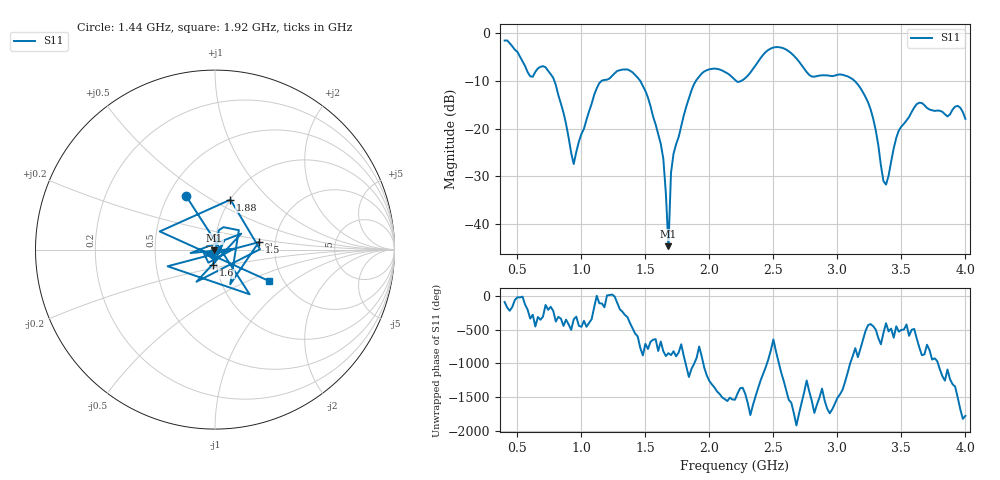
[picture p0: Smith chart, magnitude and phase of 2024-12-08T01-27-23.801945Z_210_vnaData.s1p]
!Created with skrf (http://scikit-rf.org).
# Hz S RI R 50.0
!freq ReS11 ImS11
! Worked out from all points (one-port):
!   181 points, 400 MHz to 4 GHz, reference 50 ohm
!   lowest |S11| = -44.6 dB at 1.68 GHz (marker M1), VSWR 1.01, Z = 49.6 - j0.459 ohm
!   |S11| at or under -10 dB: 788.1 MHz to 1.159 GHz (370.5 MHz wide, 38.1 % of centre); 1.459 GHz to 1.896 GHz (436.4 MHz wide, 26 % of centre); 3.133 GHz to end of sweep (the widest 3 of 4)
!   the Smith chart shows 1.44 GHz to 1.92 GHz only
!   S11 on the Smith chart (normalised r, x): 1.44 GHz: 0.61, +0.42; 1.5 GHz: 1.64, +0.14; 1.6 GHz: 0.97, -0.17; 1.88 GHz: 1.00, +0.61; 1.92 GHz: 1.70, -0.68
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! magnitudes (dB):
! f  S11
! 400 MHz  -1.6
! 600 MHz  -9.1
! 720 MHz  -7.2
! 860 MHz  -16.7
! 940 MHz  -27.4
! 1.12 GHz  -11.6
! 1.3 GHz  -7.8
! 1.44 GHz  -9.4
! 1.5 GHz  -12.1
! 1.6 GHz  -21.2
! 1.64 GHz  -26.3
! 1.68 GHz  -44.6
! 1.7 GHz  -29.2
! 1.76 GHz  -21.7
! 1.88 GHz  -10.7
! 1.92 GHz  -9.1
! 2.2 GHz  -9.8
! 2.48 GHz  -3.3
! 2.66 GHz  -4.8
! 2.8 GHz  -9.1
! 3.1 GHz  -9.4
! 3.26 GHz  -16.0
! 3.38 GHz  -31.7
! 3.46 GHz  -21.9
! 3.56 GHz  -17.6
! 3.64 GHz  -14.6
! 3.94 GHz  -15.3
! 4 GHz  -18.0
